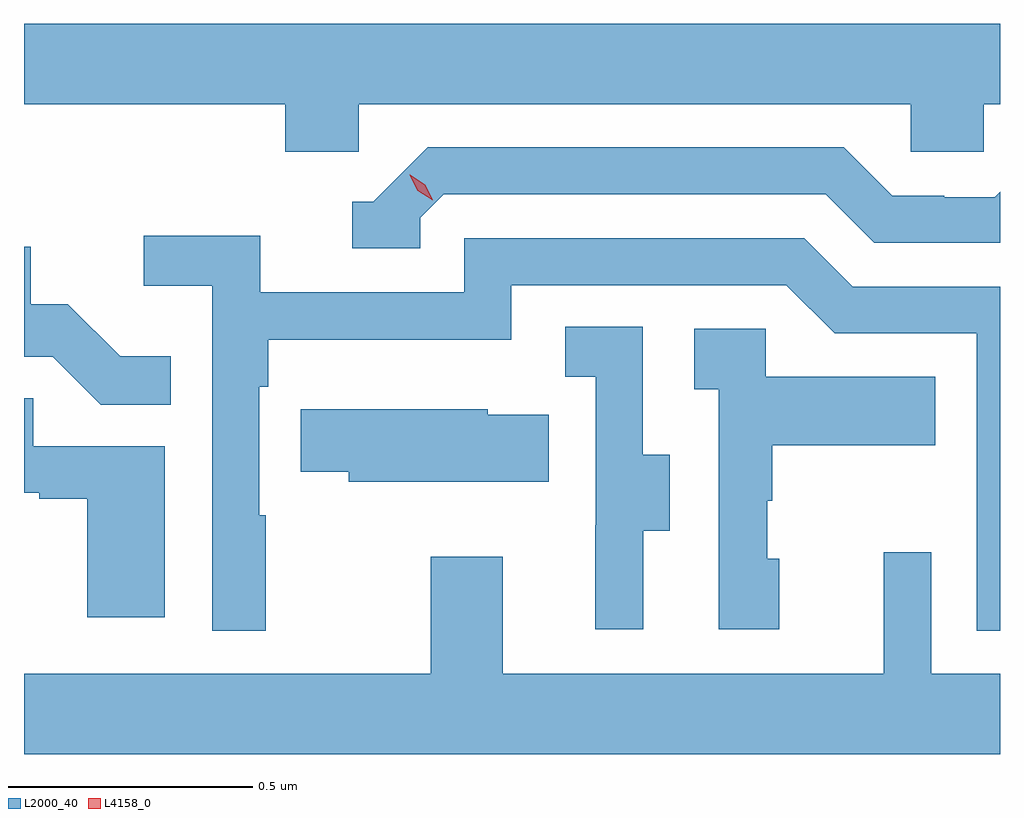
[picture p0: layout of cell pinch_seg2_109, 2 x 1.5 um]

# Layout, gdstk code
import gdstk
lib = gdstk.Library(unit=1e-6, precision=1e-09)
def P(c, l, *ps):  # polygons
    for p in ps: c.add(gdstk.Polygon(p, *l))
L2000_40 = (2000, 40)
L4158_0 = (4158, 0)

pinch_seg2_109 = lib.new_cell('pinch_seg2_109')
P(pinch_seg2_109, L2000_40, [(1055.232,644.972),(1056.363,644.972),(1056.363,644.874),(1056.513,644.874),(1056.513,644.972),(1056.546,644.972),(1056.546,645.136),(1054.546,645.136),(1054.546,644.972),(1055.081,644.972),(1055.081,644.874),(1055.232,644.874)],
  [(1055.358,644.739),(1055.406,644.787),(1056.189,644.787),(1056.288,644.688),(1056.546,644.688),(1056.546,644.792),(1056.535,644.781),(1056.432,644.781),(1056.432,644.784),(1056.325,644.784),(1056.226,644.883),(1055.373,644.883),(1055.262,644.772),(1055.219,644.772),(1055.219,644.676),(1055.358,644.676)],
  [(1055.041,644.129),(1055.028,644.129),(1055.028,644.393),(1055.047,644.393),(1055.047,644.489),(1055.544,644.489),(1055.544,644.601),(1056.108,644.601),(1056.207,644.502),(1056.498,644.502),(1056.498,643.893),(1056.546,643.893),(1056.546,644.598),(1056.244,644.598),(1056.145,644.697),(1055.448,644.697),(1055.448,644.586),(1055.03,644.586),(1055.03,644.702),(1054.791,644.702),(1054.791,644.6),(1054.932,644.6),(1054.932,643.893),(1055.041,643.893)],
  [(1054.847,644.455),(1054.743,644.455),(1054.636,644.562),(1054.56,644.562),(1054.56,644.679),(1054.546,644.679),(1054.546,644.454),(1054.605,644.454),(1054.703,644.356),(1054.847,644.356)],
  [(1055.815,644.098),(1055.869,644.098),(1055.869,644.253),(1055.814,644.253),(1055.814,644.516),(1055.655,644.516),(1055.655,644.413),(1055.718,644.413),(1055.718,644.109),(1055.717,644.109),(1055.717,643.896),(1055.815,643.896)],
  [(1056.094,644.04),(1056.069,644.04),(1056.069,644.159),(1056.079,644.159),(1056.079,644.273),(1056.413,644.273),(1056.413,644.413),(1056.066,644.413),(1056.066,644.511),(1055.919,644.511),(1055.919,644.387),(1055.97,644.387),(1055.97,643.896),(1056.094,643.896)],
  [(1054.834,644.271),(1054.565,644.271),(1054.565,644.369),(1054.546,644.369),(1054.546,644.175),(1054.577,644.175),(1054.577,644.163),(1054.676,644.163),(1054.676,643.92),(1054.834,643.92)],
  [(1055.621,644.335),(1055.496,644.335),(1055.496,644.347),(1055.113,644.347),(1055.113,644.218),(1055.211,644.218),(1055.211,644.198),(1055.621,644.198)],
  [(1056.546,643.804),(1056.405,643.804),(1056.405,644.053),(1056.308,644.053),(1056.308,643.804),(1055.527,643.804),(1055.527,644.044),(1055.38,644.044),(1055.38,643.804),(1054.546,643.804),(1054.546,643.64),(1056.546,643.64)])
P(pinch_seg2_109, L4158_0, [(1055.384,644.775),(1055.353,644.794),(1055.336,644.826),(1055.336,644.827),(1055.337,644.827),(1055.368,644.807),(1055.384,644.775),(1055.384,644.775)])

lib.write_gds('pinch_seg2_109.gds')
